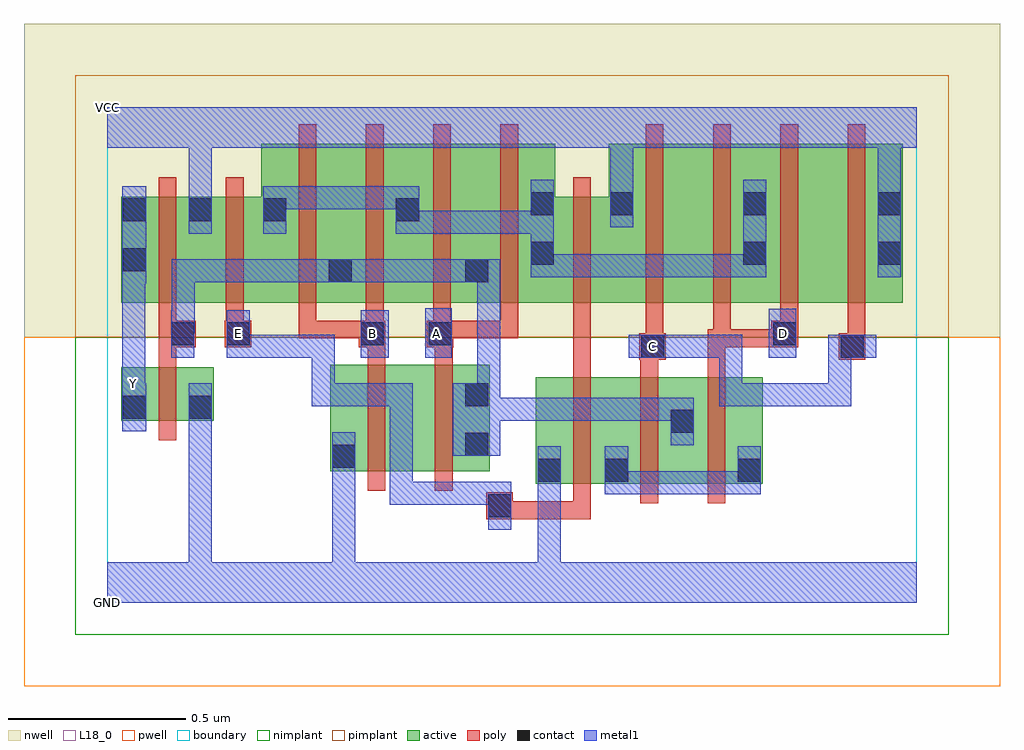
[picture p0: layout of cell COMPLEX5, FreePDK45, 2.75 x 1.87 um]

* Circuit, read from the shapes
.subckt COMPLEX5 A B C D E GND VCC Y
M1 GND n1 Y VSUBS nfet w=0.15u l=0.05u
M2 n2 B GND VSUBS nfet w=0.3u l=0.05u
M3 n1 A n2 VSUBS nfet w=0.3u l=0.05u
M4 n3 E GND VSUBS nfet w=0.3u l=0.05u
M5 n1 C n3 VSUBS nfet w=0.3u l=0.05u
M6 n3 D n1 VSUBS nfet w=0.3u l=0.05u
M7 VCC n1 Y n4 pfet w=0.3u l=0.05u
M8 n5 E VCC n4 pfet w=0.3u l=0.05u m=2
M9 n1 B n5 n4 pfet w=0.45u l=0.05u m=2
M10 n1 A n5 n4 pfet w=0.45u l=0.05u m=2
M11 n6 C VCC n4 pfet w=0.45u l=0.05u
M12 n5 D n6 n4 pfet w=0.45u l=0.05u
M13 n7 D n5 n4 pfet w=0.45u l=0.05u
M14 VCC C n7 n4 pfet w=0.45u l=0.05u
.ends

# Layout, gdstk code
import gdstk
lib = gdstk.Library(unit=1e-6, precision=1e-09)
def R(c, l, rs):  # rectangles x0, y0, x1, y1
    for r in rs: c.add(gdstk.rectangle(r[:2], r[2:], *l))
def A(c, l, x, y, w, h, nx, ny, dx, dy):  # array of equal rectangles
    R(c, l, [(x+i*dx, y+j*dy, x+i*dx+w, y+j*dy+h) for i in range(nx) for j in range(ny)])
active = (1, 0)
pwell = (2, 0)
nwell = (3, 0)
nimplant = (4, 0)
pimplant = (5, 0)
poly = (9, 0)
contact = (10, 0)
metal1 = (11, 0)
L18_0 = (18, 0)
boundary = (235, 0)

complex5 = lib.new_cell('COMPLEX5')
R(complex5, active, [(1.21,0.337,1.285,0.637), (1.21,0.337,1.475,0.637), (1.4,0.337,1.66,0.637), (1.4,0.337,1.475,0.547), (1.585,0.337,1.85,0.637), (1.775,0.337,1.85,0.637), (0.63,0.372,0.855,0.672), (0.63,0.372,0.705,0.547), (0.855,0.372,1.08,0.672), (1.005,0.382,1.08,0.672), (1.585,0.382,1.66,0.55), (0.04,0.515,0.115,0.665), (0.04,0.515,0.3,0.665), (0.225,0.515,0.3,0.665), (0.04,0.847,0.115,1.147), (0.04,0.847,0.3,1.147), (0.225,0.847,0.3,1.147), (0.225,0.847,0.51,1.147), (0.435,0.847,0.695,1.297), (0.62,0.847,0.695,1.07), (0.62,0.847,0.885,1.297), (0.81,0.847,0.885,1.2), (0.81,0.847,1.08,1.297), (1.005,0.847,1.265,1.297), (1.005,0.847,1.08,1.07), (1.19,0.847,1.265,1.2), (1.19,0.847,1.49,1.147), (1.415,0.847,1.64,1.297), (1.64,0.847,1.865,1.297), (1.79,0.847,2.02,1.297), (1.79,0.847,1.865,1.2), (2.02,0.847,2.245,1.297), (2.17,0.847,2.245,1.297), (0.435,1.007,0.51,1.2), (1.415,1.007,1.49,1.165)])
R(complex5, pwell, [(-0.235,-0.235,2.52,0.75)])
R(complex5, nwell, [(-0.235,0.75,2.52,1.635)])
R(complex5, nimplant, [(-0.09,-0.09,2.375,0.75)])
R(complex5, pimplant, [(-0.09,0.75,2.375,1.49)])
A(complex5, poly, 1.315, 0.282, 0.05, 0.41, 3, 1, 0.19, 0)
A(complex5, poly, 0.54, 0.747, 0.05, 0.095, 4, 1, 0.19, 0)
A(complex5, poly, 0.54, 0.792, 0.05, 0.56, 4, 1, 0.19, 0)
A(complex5, poly, 1.52, 0.792, 0.05, 0.56, 4, 1, 0.19, 0)
R(complex5, poly, [(1.07,0.237,1.145,0.312), (1.095,0.237,1.145,0.287), (1.095,0.237,1.145,0.287), (1.095,0.237,1.365,0.287), (1.315,0.237,1.365,0.332), (1.315,0.237,1.365,0.287), (1.315,0.237,1.365,0.287), (1.315,0.237,1.365,0.287), (0.735,0.317,0.785,0.727), (0.925,0.317,0.975,0.727), (0.145,0.46,0.195,0.72), (1.315,0.642,1.365,0.762), (1.505,0.642,1.555,0.737), (1.695,0.642,1.745,0.772), (0.145,0.67,0.195,0.772), (0.735,0.677,0.785,0.772), (0.925,0.677,0.975,0.772), (1.502,0.687,1.577,0.762), (2.065,0.687,2.14,0.762), (1.315,0.712,1.365,0.842), (1.315,0.712,1.365,0.762), (1.52,0.712,1.57,0.842), (2.09,0.712,2.14,0.842), (0.145,0.722,0.25,0.797), (0.332,0.722,0.407,0.797), (0.71,0.722,0.785,0.797), (0.902,0.722,0.977,0.797), (1.695,0.722,1.76,0.772), (1.71,0.722,1.925,0.772), (1.71,0.722,1.76,0.772), (1.71,0.722,1.76,0.772), (1.71,0.722,1.76,0.842), (1.875,0.722,1.95,0.797), (0.145,0.747,0.195,0.842), (0.335,0.747,0.385,0.842), (0.54,0.747,0.59,0.797), (0.54,0.747,0.76,0.797), (0.71,0.747,0.76,0.797), (0.71,0.747,0.76,0.797), (0.927,0.747,1.16,0.797), (1.11,0.747,1.16,0.797), (1.11,0.747,1.16,0.797), (1.11,0.747,1.16,0.797), (1.9,0.747,1.95,0.842), (0.145,0.792,0.195,1.202), (0.335,0.792,0.385,1.202), (1.315,0.792,1.365,1.202)])
R(complex5, contact, [(1.075,0.242,1.14,0.307), (1.215,0.342,1.28,0.407), (1.405,0.342,1.47,0.407), (1.78,0.342,1.845,0.407), (0.635,0.382,0.7,0.447), (1.01,0.415,1.075,0.48), (1.59,0.48,1.655,0.545), (0.045,0.52,0.11,0.585), (0.23,0.52,0.295,0.585), (1.01,0.555,1.075,0.62), (1.507,0.692,1.572,0.757), (2.07,0.692,2.135,0.757), (0.18,0.727,0.245,0.792), (0.337,0.727,0.402,0.792), (0.715,0.727,0.78,0.792), (0.907,0.727,0.972,0.792), (1.88,0.727,1.945,0.792), (0.625,0.905,0.69,0.97), (1.01,0.905,1.075,0.97), (0.045,0.937,0.11,1.002), (1.195,0.955,1.26,1.02), (1.795,0.955,1.86,1.02), (2.175,0.955,2.24,1.02), (0.045,1.077,0.11,1.142), (0.23,1.077,0.295,1.142), (0.44,1.077,0.505,1.142), (0.815,1.077,0.88,1.142), (1.195,1.095,1.26,1.16), (1.42,1.095,1.485,1.16), (1.795,1.095,1.86,1.16), (2.175,1.095,2.24,1.16)])
R(complex5, metal1, [(0,0,2.285,0.115), (0.23,0.05,0.295,0.115), (0.23,0.05,0.295,0.115), (0.23,0.05,0.295,0.115), (0.23,0.05,0.295,0.115), (0.23,0.05,0.295,0.115), (0.23,0.05,0.295,0.115), (0.23,0.05,0.295,0.55), (0.635,0.05,0.7,0.115), (0.635,0.05,0.7,0.115), (0.635,0.05,0.7,0.412), (1.215,0.05,1.28,0.115), (1.215,0.05,1.28,0.115), (1.215,0.05,1.28,0.115), (1.215,0.05,1.28,0.115), (1.215,0.05,1.28,0.372), (1.075,0.207,1.14,0.342), (0.797,0.277,0.862,0.342), (0.797,0.277,0.917,0.342), (0.797,0.277,0.862,0.62), (0.852,0.277,0.917,0.342), (0.852,0.277,1.04,0.342), (0.975,0.277,1.04,0.342), (0.975,0.277,1.14,0.342), (1.215,0.307,1.28,0.442), (1.405,0.307,1.47,0.442), (1.405,0.307,1.655,0.372), (1.59,0.307,1.655,0.372), (1.59,0.307,1.655,0.372), (1.59,0.307,1.655,0.372), (1.59,0.307,1.792,0.372), (1.727,0.307,1.792,0.372), (1.727,0.307,1.845,0.372), (1.78,0.307,1.845,0.442), (0.635,0.347,0.7,0.412), (0.635,0.347,0.7,0.412), (0.635,0.347,0.7,0.482), (0.975,0.415,1.11,0.62), (1.59,0.445,1.655,0.58), (0.042,0.485,0.11,0.62), (0.23,0.485,0.295,0.62), (1.045,0.515,1.11,0.58), (1.045,0.515,1.11,0.58), (1.045,0.515,1.26,0.58), (1.195,0.515,1.26,0.58), (1.195,0.515,1.4,0.58), (1.335,0.515,1.4,0.58), (1.335,0.515,1.4,0.58), (1.335,0.515,1.4,0.58), (1.335,0.515,1.655,0.58), (1.59,0.515,1.655,0.58), (1.59,0.515,1.655,0.58), (0.042,0.552,0.107,0.687), (0.042,0.555,0.107,0.62), (0.577,0.555,0.642,0.62), (0.577,0.555,0.642,0.757), (0.577,0.555,0.78,0.62), (0.715,0.555,0.78,0.62), (0.715,0.555,0.862,0.62), (0.797,0.555,0.862,0.62), (0.797,0.555,0.862,0.62), (0.797,0.555,0.862,0.62), (1.045,0.555,1.11,0.62), (1.045,0.555,1.11,0.62), (1.045,0.555,1.11,0.97), (1.727,0.555,1.792,0.62), (1.727,0.555,1.792,0.757), (1.727,0.555,1.962,0.62), (1.897,0.555,1.962,0.62), (1.897,0.555,2.1,0.62), (2.035,0.555,2.1,0.62), (2.035,0.555,2.1,0.757), (0.042,0.622,0.107,0.967), (0.18,0.692,0.245,0.827), (0.337,0.692,0.402,0.757), (0.337,0.692,0.402,0.757), (0.337,0.692,0.402,0.827), (0.337,0.692,0.642,0.757), (0.577,0.692,0.642,0.757), (0.577,0.692,0.642,0.757), (0.577,0.692,0.642,0.757), (0.715,0.692,0.795,0.827), (0.897,0.692,0.972,0.832), (1.472,0.692,1.607,0.757), (1.542,0.692,1.607,0.757), (1.542,0.692,1.607,0.757), (1.542,0.692,1.792,0.757), (1.727,0.692,1.792,0.757), (1.727,0.692,1.792,0.757), (1.727,0.692,1.792,0.757), (1.867,0.692,1.945,0.83), (2.035,0.692,2.1,0.757), (2.035,0.692,2.1,0.757), (2.035,0.692,2.17,0.757), (0.18,0.762,0.245,0.827), (0.18,0.762,0.247,0.827), (0.182,0.762,0.247,0.97), (0.042,0.902,0.11,1.177), (0.182,0.905,0.247,0.97), (0.182,0.905,0.505,0.97), (0.44,0.905,0.505,0.97), (0.44,0.905,0.505,0.97), (0.44,0.905,0.505,0.97), (0.44,0.905,0.642,0.97), (0.577,0.905,0.642,0.97), (0.577,0.905,0.655,0.97), (0.59,0.905,0.725,0.97), (0.66,0.905,0.78,0.97), (0.715,0.905,0.78,0.97), (0.715,0.905,0.902,0.97), (0.837,0.905,0.902,0.97), (0.837,0.905,0.917,0.97), (0.852,0.905,0.917,0.97), (0.852,0.905,1.04,0.97), (0.975,0.905,1.11,0.97), (1.195,0.92,1.26,1.195), (1.195,0.92,1.26,0.985), (1.195,0.92,1.26,0.985), (1.195,0.92,1.277,0.985), (1.212,0.92,1.277,0.985), (1.212,0.92,1.47,0.985), (1.405,0.92,1.47,0.985), (1.405,0.92,1.655,0.985), (1.59,0.92,1.655,0.985), (1.59,0.92,1.655,0.985), (1.59,0.92,1.655,0.985), (1.59,0.92,1.792,0.985), (1.727,0.92,1.792,0.985), (1.727,0.92,1.86,0.985), (1.795,0.92,1.86,1.195), (2.175,0.92,2.24,1.195), (0.23,1.042,0.295,1.177), (0.44,1.042,0.505,1.177), (0.815,1.042,0.88,1.177), (0.815,1.042,0.972,1.107), (0.907,1.042,0.972,1.107), (0.907,1.042,1.122,1.107), (1.057,1.042,1.122,1.107), (1.057,1.042,1.122,1.107), (1.057,1.042,1.122,1.107), (1.057,1.042,1.26,1.107), (1.42,1.06,1.485,1.195), (0.23,1.112,0.295,1.35), (0.44,1.112,0.642,1.177), (0.577,1.112,0.642,1.177), (0.577,1.112,0.642,1.177), (0.577,1.112,0.642,1.177), (0.577,1.112,0.78,1.177), (0.715,1.112,0.78,1.177), (0.715,1.112,0.88,1.177), (1.42,1.13,1.485,1.35), (2.175,1.13,2.24,1.35), (0,1.285,2.285,1.4), (0.23,1.285,0.295,1.35), (0.23,1.285,0.295,1.35)])
R(complex5, L18_0, [(0,0,2.285,0.115), (0.23,0.05,0.295,0.115), (0.23,0.05,0.295,0.115), (0.23,0.05,0.295,0.115), (0.23,0.05,0.295,0.115), (0.23,0.05,0.295,0.115), (0.23,0.05,0.295,0.115), (0.23,0.05,0.295,0.55), (0.635,0.05,0.7,0.115), (0.635,0.05,0.7,0.115), (0.635,0.05,0.7,0.412), (1.215,0.05,1.28,0.115), (1.215,0.05,1.28,0.115), (1.215,0.05,1.28,0.115), (1.215,0.05,1.28,0.115), (1.215,0.05,1.28,0.372), (1.075,0.207,1.14,0.342), (0.797,0.277,0.862,0.342), (0.797,0.277,0.862,0.62), (0.797,0.277,0.917,0.342), (0.852,0.277,0.917,0.342), (0.852,0.277,1.04,0.342), (0.975,0.277,1.04,0.342), (0.975,0.277,1.14,0.342), (1.215,0.307,1.28,0.442), (0.635,0.347,0.7,0.482), (0.635,0.347,0.7,0.412), (0.635,0.347,0.7,0.412), (0.042,0.485,0.11,0.62), (0.23,0.485,0.295,0.62), (0.042,0.552,0.107,0.687), (0.042,0.555,0.107,0.62), (0.577,0.555,0.642,0.62), (0.577,0.555,0.642,0.757), (0.577,0.555,0.78,0.62), (0.715,0.555,0.78,0.62), (0.715,0.555,0.862,0.62), (0.797,0.555,0.862,0.62), (0.797,0.555,0.862,0.62), (0.797,0.555,0.862,0.62), (1.727,0.555,1.792,0.62), (1.727,0.555,1.792,0.757), (1.727,0.555,1.962,0.62), (1.897,0.555,1.962,0.62), (1.897,0.555,2.1,0.62), (2.035,0.555,2.1,0.62), (2.035,0.555,2.1,0.757), (0.042,0.587,0.107,0.652), (0.042,0.622,0.107,0.967), (0.337,0.692,0.402,0.827), (0.337,0.692,0.402,0.757), (0.337,0.692,0.402,0.757), (0.337,0.692,0.642,0.757), (0.577,0.692,0.642,0.757), (0.577,0.692,0.642,0.757), (0.577,0.692,0.642,0.757), (0.715,0.692,0.795,0.827), (0.897,0.692,0.972,0.832), (1.472,0.692,1.607,0.757), (1.507,0.692,1.572,0.757), (1.542,0.692,1.607,0.757), (1.542,0.692,1.607,0.757), (1.542,0.692,1.792,0.757), (1.727,0.692,1.792,0.757), (1.727,0.692,1.792,0.757), (1.727,0.692,1.792,0.757), (1.867,0.692,1.945,0.83), (2.035,0.692,2.1,0.757), (2.035,0.692,2.1,0.757), (2.035,0.692,2.17,0.757), (0.337,0.727,0.402,0.792), (0.717,0.727,0.782,0.792), (0.897,0.727,0.962,0.792), (1.877,0.727,1.942,0.792), (0.042,0.902,0.11,1.177), (2.175,0.92,2.24,1.195), (0.23,1.042,0.295,1.177), (1.42,1.06,1.485,1.195), (0.23,1.112,0.295,1.35), (1.42,1.13,1.485,1.35), (2.175,1.13,2.24,1.35), (0,1.285,2.285,1.4), (0.23,1.285,0.295,1.35), (0.23,1.285,0.295,1.35)])
R(complex5, boundary, [(0,0,2.285,1.4)])
complex5.add(gdstk.Label('A', (0.93,0.76), layer=11, texttype=0))
complex5.add(gdstk.Label('B', (0.75,0.76), layer=11, texttype=0))
complex5.add(gdstk.Label('C', (1.54,0.725), layer=11, texttype=0))
complex5.add(gdstk.Label('D', (1.91,0.76), layer=11, texttype=0))
complex5.add(gdstk.Label('E', (0.37,0.76), layer=11, texttype=0))
complex5.add(gdstk.Label('Y', (0.075,0.62), layer=11, texttype=0))
complex5.add(gdstk.Label('VCC', (0,1.4), layer=11, texttype=0))
complex5.add(gdstk.Label('GND', (0,0), layer=11, texttype=0))

lib.write_gds('COMPLEX5.gds')
